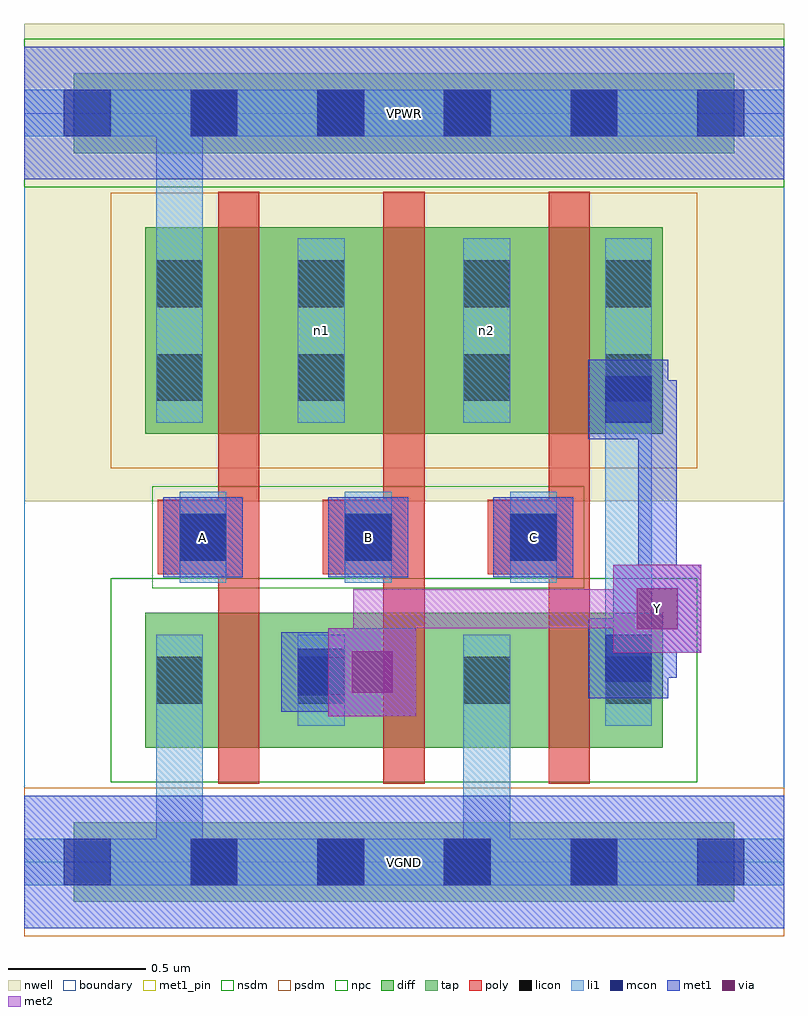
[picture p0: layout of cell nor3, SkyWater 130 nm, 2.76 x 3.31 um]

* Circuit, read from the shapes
.subckt nor3 A B C VGND VPWR Y n1 n2
XM1 Y A VGND VGND sky130_fd_pr__nfet_01v8 w=0.49 l=0.15
XM2 VGND B Y VGND sky130_fd_pr__nfet_01v8 w=0.49 l=0.15
XM3 Y C VGND VGND sky130_fd_pr__nfet_01v8 w=0.49 l=0.15
XM4 n1 A VPWR VPWR sky130_fd_pr__pfet_01v8 w=0.75 l=0.15
XM5 n2 B n1 VPWR sky130_fd_pr__pfet_01v8 w=0.75 l=0.15
XM6 Y C n2 VPWR sky130_fd_pr__pfet_01v8 w=0.75 l=0.15
.ends

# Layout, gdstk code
import gdstk
lib = gdstk.Library(unit=1e-6, precision=1e-09)
def R(c, l, rs):  # rectangles x0, y0, x1, y1
    for r in rs: c.add(gdstk.rectangle(r[:2], r[2:], *l))
def A(c, l, x, y, w, h, nx, ny, dx, dy):  # array of equal rectangles
    R(c, l, [(x+i*dx, y+j*dy, x+i*dx+w, y+j*dy+h) for i in range(nx) for j in range(ny)])
nwell = (64, 20)
diff = (65, 20)
tap = (65, 44)
poly = (66, 20)
licon = (66, 44)
li1 = (67, 20)
mcon = (67, 44)
met1_pin = (68, 16)
met1 = (68, 20)
via = (68, 44)
met2 = (69, 20)
nsdm = (93, 44)
psdm = (94, 20)
npc = (95, 20)
boundary = (235, 4)

nor3 = lib.new_cell('nor3')
R(nor3, nwell, [(0,1.31,2.76,3.045)])
R(nor3, diff, [(0.44,0.415,2.32,0.905), (0.44,1.555,2.32,2.305)])
R(nor3, tap, [(0.18,-0.145,2.58,0.145), (0.18,2.575,2.58,2.865)])
A(nor3, poly, 0.705, 0.285, 0.15, 2.15, 3, 1, 0.6, 0)
A(nor3, poly, 0.485, 1.045, 0.33, 0.27, 3, 1, 0.6, 0)
A(nor3, licon, 0.605, -0.085, 0.17, 0.17, 4, 2, 0.46, 2.72)
A(nor3, licon, 0.565, 1.095, 0.17, 0.17, 3, 1, 0.6, 0)
R(nor3, licon, [(0.48,0.575,0.65,0.745), (0.995,0.575,1.165,0.745), (1.595,0.575,1.765,0.745), (2.11,0.575,2.28,0.745), (0.48,1.675,0.65,1.845), (0.995,1.675,1.165,1.845), (1.595,1.675,1.765,1.845), (2.11,1.675,2.28,1.845), (0.48,2.015,0.65,2.185), (0.995,2.015,1.165,2.185), (1.595,2.015,1.765,2.185), (2.11,2.015,2.28,2.185)])
A(nor3, li1, 0.565, 1.015, 0.17, 0.33, 3, 1, 0.6, 0)
R(nor3, li1, [(0,-0.085,2.76,0.085), (0.48,-0.085,0.65,0.825), (1.595,-0.085,1.765,0.825), (0.48,0.495,0.65,0.825), (0.995,0.495,1.165,0.825), (1.595,0.495,1.765,0.825), (2.11,0.495,2.28,0.825), (2.11,0.495,2.28,2.265), (0.48,1.595,0.65,2.265), (0.48,1.595,0.65,2.805), (0.995,1.595,1.165,2.265), (1.595,1.595,1.765,2.265), (2.11,1.595,2.28,2.265), (0,2.635,2.76,2.805)])
A(nor3, mcon, 0.145, -0.085, 0.17, 0.17, 6, 2, 0.46, 2.72)
A(nor3, mcon, 0.565, 1.095, 0.17, 0.17, 3, 1, 0.6, 0)
R(nor3, mcon, [(0.995,0.605,1.165,0.775), (2.11,0.655,2.28,0.825), (2.11,1.595,2.28,1.765)])
A(nor3, met1_pin, 0.505, 1.035, 0.29, 0.29, 3, 1, 0.6, 0)
R(nor3, met1_pin, [(0,-0.24,2.76,0.24), (2.14,0.76,2.46,1.08), (0,2.48,2.76,2.96)])
A(nor3, met1, 0.505, 1.035, 0.29, 0.29, 3, 1, 0.6, 0)
R(nor3, met1, [(0,-0.24,2.76,0.24), (1.105,0.53,1.425,0.85), (0.935,0.545,1.225,0.835), (2.05,0.595,2.34,0.885), (1.01,0.62,1.335,0.76), (2.125,0.67,2.37,0.81), (2.23,0.67,2.37,0.99), (2.14,0.76,2.46,1.08), (2.23,0.85,2.37,1.565), (2.23,1.425,2.37,1.75), (2.05,1.535,2.34,1.825), (2.125,1.61,2.37,1.75), (0,2.48,2.76,2.96)])
R(nor3, via, [(1.19,0.615,1.34,0.765), (2.225,0.845,2.375,0.995)])
R(nor3, met2, [(1.105,0.53,1.425,0.85), (1.195,0.62,1.335,0.99), (2.14,0.76,2.46,1.08), (1.195,0.85,2.37,0.99)])
R(nor3, nsdm, [(0.315,0.29,2.445,1.03), (0,2.45,2.76,2.99)])
R(nor3, psdm, [(0,-0.27,2.76,0.27), (0.315,1.43,2.445,2.43)])
R(nor3, npc, [(0.465,0.995,2.035,1.365)])
R(nor3, boundary, [(0,0,2.76,2.72)])
nor3.add(gdstk.Label('n1', (1.08,1.93), layer=67, texttype=5))
nor3.add(gdstk.Label('n2', (1.68,1.93), layer=67, texttype=5))
nor3.add(gdstk.Label('A', (0.65,1.18), layer=68, texttype=5))
nor3.add(gdstk.Label('B', (1.25,1.18), layer=68, texttype=5))
nor3.add(gdstk.Label('C', (1.85,1.18), layer=68, texttype=5))
nor3.add(gdstk.Label('Y', (2.3,0.92), layer=68, texttype=5))
nor3.add(gdstk.Label('VPWR', (1.38,2.72), layer=68, texttype=5))
nor3.add(gdstk.Label('VGND', (1.38,0), layer=68, texttype=5))
nor3.add(gdstk.Label('A', (0.65,1.18), layer=68, texttype=16))
nor3.add(gdstk.Label('B', (1.25,1.18), layer=68, texttype=16))
nor3.add(gdstk.Label('C', (1.85,1.18), layer=68, texttype=16))
nor3.add(gdstk.Label('Y', (2.3,0.92), layer=68, texttype=16))
nor3.add(gdstk.Label('VPWR', (1.38,2.72), layer=68, texttype=16))
nor3.add(gdstk.Label('VGND', (1.38,0), layer=68, texttype=16))

lib.write_gds('nor3.gds')
